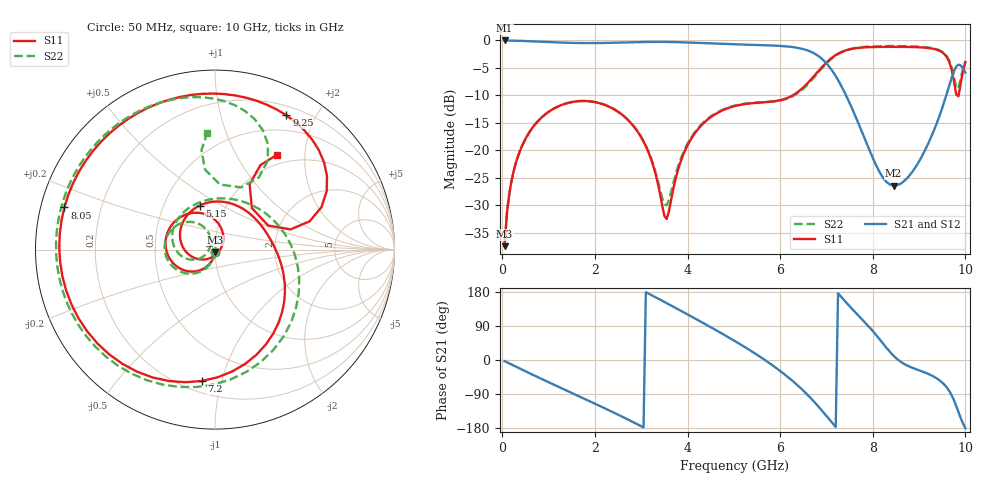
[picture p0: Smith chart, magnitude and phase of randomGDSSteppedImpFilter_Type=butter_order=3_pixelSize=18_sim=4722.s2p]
! freq	dB(S11)	phase(S11)	dB(S12)	phase(S12)
!  dB(S21)	phase(S21)	dB(S22)	phase(S22)
!S-par simulation data
#  GHz  S  DB  R 50
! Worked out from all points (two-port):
!   200 points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, 50 MHz to 10 GHz, reference 50 ohm
!   highest |S21| = -0.01 dB at 50 MHz (marker M1); lowest = -26.4 dB at 8.45 GHz (marker M2)
!   |S21| within 3 dB of the highest: start of sweep to 6.851 GHz
!   lowest |S11| = -37.5 dB at 50 MHz (marker M3), VSWR 1.03, Z = 49.9 - j1.34 ohm
!   |S11| at or under -10 dB: start of sweep to 6.271 GHz; 9.828356 GHz to 9.853658 GHz (25.3 MHz wide, 0.257 % of centre)
!   |S22| runs from -37.4 to -1.0 dB; largest |S21 - S12| = 0
!   S11 on the Smith chart (normalised r, x): 50 MHz: 1.00, -0.03; 5.15 GHz: 0.75, +0.40; 7.2 GHz: 0.27, -0.87; 8.05 GHz: 0.07, +0.14; 9.25 GHz: 0.31, +1.62; 10 GHz: 0.85, +1.50
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0.05  -37.45 -92.8  -0.01 -3.0  -0.01 -3.0  -37.37 -91.8
0.2  -25.53 -102.7  -0.03 -12.0  -0.03 -12.0  -25.53 -101.4
0.5  -17.93 -121.8  -0.11 -29.7  -0.11 -29.7  -17.93 -118.6
1.75  -11.02 161.9  -0.48 -101.1  -0.48 -101.1  -11.02 174.9
2.8  -15.25 92.7  -0.34 -162.4  -0.34 -162.4  -15.24 123.1
3.4  -27.68 24.8  -0.27 159.8  -0.27 159.8  -26.90 122.3
3.55  -32.51 -48.7  -0.28 150.0  -0.28 150.0  -30.02 168.2
4.25  -15.92 -174.7  -0.46 103.6  -0.46 103.6  -15.75 -161.6
5.05  -11.89 118.1  -0.72 48.0  -0.72 48.0  -11.80 156.3
5.15  -11.71 109.4  -0.75 40.6  -0.75 40.6  -11.63 150.4
5.95  -10.97 37.5  -0.98 -24.3  -0.98 -24.3  -11.00 93.4
6.7  -6.79 -31.7  -2.21 -105.7  -2.21 -105.7  -7.04 -3.4
7.2  -2.67 -95.7  -6.50 -176.7  -6.50 -176.7  -2.75 -83.2
7.65  -1.40 -153.2  -14.29 122.5  -14.29 122.5  -1.33 -140.8
8.05  -1.19 164.4  -22.33 69.3  -22.33 69.3  -1.06 -178.3
8.35  -1.17 136.6  -26.12 24.3  -26.12 24.3  -1.02 158.6
8.45  -1.17 127.8  -26.43 11.1  -26.43 11.1  -1.02 151.5
9.25  -1.44 62.0  -17.79 -39.6  -17.79 -39.6  -1.34 97.6
9.55  -2.53 33.3  -11.01 -65.5  -11.01 -65.5  -2.39 73.1
9.75  -7.21 15.0  -5.69 -105.4  -5.69 -105.4  -6.54 58.7
9.85  -10.18 48.5  -4.41 -137.4  -4.41 -137.4  -8.79 85.8
10  -3.97 56.8  -5.87 -180.0  -5.87 -180.0  -3.72 93.8
